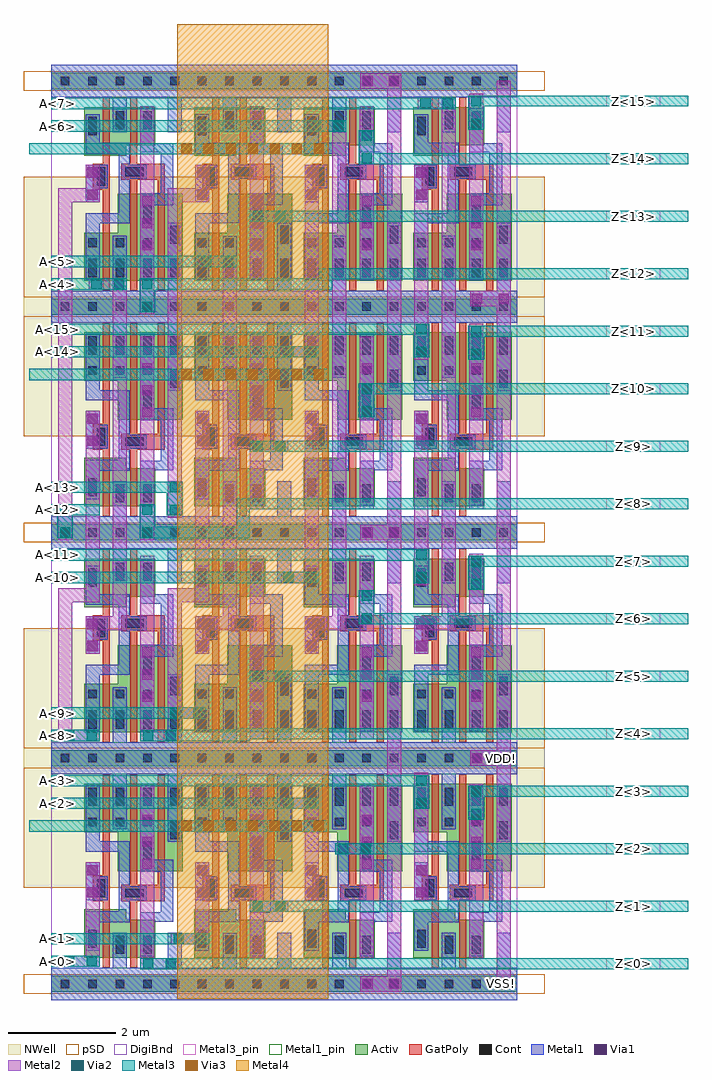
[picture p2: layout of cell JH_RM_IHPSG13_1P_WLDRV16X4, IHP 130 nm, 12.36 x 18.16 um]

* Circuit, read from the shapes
.subckt JH_RM_IHPSG13_1P_WLDRV16X4 A<0> A<10> A<11> A<12> A<13> A<14> A<15> A<1> A<2> A<3> A<4> A<5> A<6> A<7> A<8> A<9> VDD! VSS! Z<0> Z<10> Z<11> Z<12> Z<13> Z<14> Z<15> Z<1> Z<2> Z<3> Z<4> Z<5> Z<6> Z<7> Z<8> Z<9>
XM1 VSS! A<0> n1 VSS! sg13_lv_nmos w=0.9u l=0.13u
XM2 VSS! A<4> n2 VSS! sg13_lv_nmos w=0.9u l=0.13u
XM3 VSS! A<8> n3 VSS! sg13_lv_nmos w=0.9u l=0.13u
XM4 VSS! A<12> n4 VSS! sg13_lv_nmos w=0.9u l=0.13u
XM5 Z<0> n1 VSS! VSS! sg13_lv_nmos w=0.705u l=0.13u
XM6 Z<4> n2 VSS! VSS! sg13_lv_nmos w=0.705u l=0.13u
XM7 Z<8> n3 VSS! VSS! sg13_lv_nmos w=0.705u l=0.13u
XM8 Z<12> n4 VSS! VSS! sg13_lv_nmos w=0.705u l=0.13u
XM9 VSS! A<1> n5 VSS! sg13_lv_nmos w=0.9u l=0.13u
XM10 VSS! A<5> n6 VSS! sg13_lv_nmos w=0.9u l=0.13u
XM11 VSS! A<9> n7 VSS! sg13_lv_nmos w=0.9u l=0.13u
XM12 VSS! A<13> n8 VSS! sg13_lv_nmos w=0.9u l=0.13u
XM13 Z<1> n5 VSS! VSS! sg13_lv_nmos w=0.705u l=0.13u
XM14 Z<5> n6 VSS! VSS! sg13_lv_nmos w=0.705u l=0.13u
XM15 Z<9> n7 VSS! VSS! sg13_lv_nmos w=0.705u l=0.13u
XM16 Z<13> n8 VSS! VSS! sg13_lv_nmos w=0.705u l=0.13u
XM17 VSS! A<2> n9 VSS! sg13_lv_nmos w=0.9u l=0.13u
XM18 VSS! A<6> n10 VSS! sg13_lv_nmos w=0.9u l=0.13u
XM19 VSS! A<10> n11 VSS! sg13_lv_nmos w=0.9u l=0.13u
XM20 VSS! A<14> n12 VSS! sg13_lv_nmos w=0.9u l=0.13u
XM21 Z<2> n9 VSS! VSS! sg13_lv_nmos w=0.705u l=0.13u
XM22 Z<6> n10 VSS! VSS! sg13_lv_nmos w=0.705u l=0.13u
XM23 Z<10> n11 VSS! VSS! sg13_lv_nmos w=0.705u l=0.13u
XM24 Z<14> n12 VSS! VSS! sg13_lv_nmos w=0.705u l=0.13u
XM25 VSS! A<3> n13 VSS! sg13_lv_nmos w=0.9u l=0.13u
XM26 VSS! A<7> n14 VSS! sg13_lv_nmos w=0.9u l=0.13u
XM27 VSS! A<11> n15 VSS! sg13_lv_nmos w=0.9u l=0.13u
XM28 VSS! A<15> n16 VSS! sg13_lv_nmos w=0.9u l=0.13u
XM29 Z<3> n13 VSS! VSS! sg13_lv_nmos w=0.705u l=0.13u
XM30 Z<7> n14 VSS! VSS! sg13_lv_nmos w=0.705u l=0.13u
XM31 Z<11> n15 VSS! VSS! sg13_lv_nmos w=0.705u l=0.13u
XM32 Z<15> n16 VSS! VSS! sg13_lv_nmos w=0.705u l=0.13u
XM33 VDD! A<0> n1 VDD! sg13_lv_pmos w=0.9u l=0.13u
XM34 VDD! A<4> n2 VDD! sg13_lv_pmos w=0.9u l=0.13u
XM35 VDD! A<8> n3 VDD! sg13_lv_pmos w=0.9u l=0.13u
XM36 VDD! A<12> n4 VDD! sg13_lv_pmos w=0.9u l=0.13u
XM37 Z<0> n1 VDD! VDD! sg13_lv_pmos w=1.62u l=0.13u m=2
XM38 Z<4> n2 VDD! VDD! sg13_lv_pmos w=1.62u l=0.13u m=2
XM39 Z<8> n3 VDD! VDD! sg13_lv_pmos w=1.62u l=0.13u m=2
XM40 Z<12> n4 VDD! VDD! sg13_lv_pmos w=1.62u l=0.13u m=2
XM41 VDD! A<1> n5 VDD! sg13_lv_pmos w=0.9u l=0.13u
XM42 VDD! A<5> n6 VDD! sg13_lv_pmos w=0.9u l=0.13u
XM43 VDD! A<9> n7 VDD! sg13_lv_pmos w=0.9u l=0.13u
XM44 VDD! A<13> n8 VDD! sg13_lv_pmos w=0.9u l=0.13u
XM45 Z<1> n5 VDD! VDD! sg13_lv_pmos w=1.62u l=0.13u m=2
XM46 Z<5> n6 VDD! VDD! sg13_lv_pmos w=1.62u l=0.13u m=2
XM47 Z<9> n7 VDD! VDD! sg13_lv_pmos w=1.62u l=0.13u m=2
XM48 Z<13> n8 VDD! VDD! sg13_lv_pmos w=1.62u l=0.13u m=2
XM49 VDD! A<2> n9 VDD! sg13_lv_pmos w=0.9u l=0.13u
XM50 VDD! A<6> n10 VDD! sg13_lv_pmos w=0.9u l=0.13u
XM51 VDD! A<10> n11 VDD! sg13_lv_pmos w=0.9u l=0.13u
XM52 VDD! A<14> n12 VDD! sg13_lv_pmos w=0.9u l=0.13u
XM53 Z<2> n9 VDD! VDD! sg13_lv_pmos w=1.62u l=0.13u m=2
XM54 Z<6> n10 VDD! VDD! sg13_lv_pmos w=1.62u l=0.13u m=2
XM55 Z<10> n11 VDD! VDD! sg13_lv_pmos w=1.62u l=0.13u m=2
XM56 Z<14> n12 VDD! VDD! sg13_lv_pmos w=1.62u l=0.13u m=2
XM57 VDD! A<3> n13 VDD! sg13_lv_pmos w=0.9u l=0.13u
XM58 VDD! A<7> n14 VDD! sg13_lv_pmos w=0.9u l=0.13u
XM59 VDD! A<11> n15 VDD! sg13_lv_pmos w=0.9u l=0.13u
XM60 VDD! A<15> n16 VDD! sg13_lv_pmos w=0.9u l=0.13u
XM61 Z<3> n13 VDD! VDD! sg13_lv_pmos w=1.62u l=0.13u m=2
XM62 Z<7> n14 VDD! VDD! sg13_lv_pmos w=1.62u l=0.13u m=2
XM63 Z<11> n15 VDD! VDD! sg13_lv_pmos w=1.62u l=0.13u m=2
XM64 Z<15> n16 VDD! VDD! sg13_lv_pmos w=1.62u l=0.13u m=2
.ends

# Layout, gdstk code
from math import pi, radians
import gdstk
lib = gdstk.Library(unit=1e-6, precision=1e-09)
def R(c, l, rs):  # rectangles x0, y0, x1, y1
    for r in rs: c.add(gdstk.rectangle(r[:2], r[2:], *l))
def A(c, l, x, y, w, h, nx, ny, dx, dy):  # array of equal rectangles
    R(c, l, [(x+i*dx, y+j*dy, x+i*dx+w, y+j*dy+h) for i in range(nx) for j in range(ny)])
def P(c, l, *ps):  # polygons
    for p in ps: c.add(gdstk.Polygon(p, *l))
Activ = (1, 0)
GatPoly = (5, 0)
Cont = (6, 0)
Metal1 = (8, 0)
Metal1_pin = (8, 2)
Metal2 = (10, 0)
pSD = (14, 0)
DigiBnd = (16, 0)
Via1 = (19, 0)
Via2 = (29, 0)
Metal3 = (30, 0)
Metal3_pin = (30, 2)
NWell = (31, 0)
Via3 = (49, 0)
Metal4 = (50, 0)

jh_rsc_ihpsg13_fill1 = lib.new_cell('JH_RSC_IHPSG13_FILL1')
R(jh_rsc_ihpsg13_fill1, Activ, [(0,-0.15,0.51,0.15), (0,4.05,0.51,4.35)])
R(jh_rsc_ihpsg13_fill1, Cont, [(0.175,-0.08,0.335,0.08), (0.175,4.12,0.335,4.28)])
R(jh_rsc_ihpsg13_fill1, Metal1, [(0,-0.3,0.51,0.3), (0,3.9,0.51,4.5)])
R(jh_rsc_ihpsg13_fill1, Metal1_pin, [(0,-0.3,0.51,0.3), (0,3.9,0.51,4.5)])
R(jh_rsc_ihpsg13_fill1, pSD, [(-0.51,-0.18,1.02,0.18), (-0.51,1.785,1.02,4.02)])
R(jh_rsc_ihpsg13_fill1, DigiBnd, [(0,-0.3,0.51,4.5)])
R(jh_rsc_ihpsg13_fill1, NWell, [(-0.51,1.785,1.02,4.725)])
jh_rsc_ihpsg13_fill1.add(gdstk.Label('VSS!', (0.26,0.01), layer=8, texttype=2))
jh_rsc_ihpsg13_fill1.add(gdstk.Label('VDD!', (0.255,4.2), layer=8, texttype=2))

jh_rsc_ihpsg13_wldrvx4 = lib.new_cell('JH_RSC_IHPSG13_WLDRVX4')
R(jh_rsc_ihpsg13_wldrvx4, Activ, [(0,-0.15,2.04,0.15), (0,4.05,2.04,4.35)])
P(jh_rsc_ihpsg13_wldrvx4, Activ, [(0.725,2.1),(0.725,2.82),(0.105,2.82),(0.105,3.72),(1.935,3.72),(1.935,2.1)],
  [(0.105,0.49),(0.105,1.39),(0.885,1.39),(0.885,1.195),(1.425,1.195),(1.425,0.49)])
P(jh_rsc_ihpsg13_wldrvx4, GatPoly, [(0.445,0.3),(0.445,1.54),(0.26,1.54),(0.26,2.02),(0.445,2.02),(0.445,3.9),(0.575,3.9),(0.575,0.3)],
  [(0.955,0.3),(0.955,1.54),(0.785,1.54),(0.785,1.84),(0.955,1.84),(0.955,3.9),(1.085,3.9),(1.085,1.84),(1.465,1.84),(1.465,3.9),(1.595,3.9),(1.595,1.54),(1.085,1.54),(1.085,0.3)])
A(jh_rsc_ihpsg13_wldrvx4, Cont, 0.175, -0.08, 0.16, 0.16, 4, 2, 0.51, 4.2)
A(jh_rsc_ihpsg13_wldrvx4, Cont, 0.175, 2.93, 0.16, 0.16, 3, 1, 0.51, 0)
A(jh_rsc_ihpsg13_wldrvx4, Cont, 0.175, 3.31, 0.16, 0.34, 4, 1, 0.51, 0)
R(jh_rsc_ihpsg13_wldrvx4, Cont, [(0.685,0.56,0.845,0.9), (1.195,0.56,1.355,0.9), (0.175,0.67,0.335,1.01), (0.33,1.61,0.49,1.95), (0.865,1.61,1.205,1.77), (1.195,2.31,1.355,2.65), (1.705,2.69,1.865,3.03)])
R(jh_rsc_ihpsg13_wldrvx4, Metal1, [(0.28,1.56,0.54,2)])
P(jh_rsc_ihpsg13_wldrvx4, Metal1, [(1.145,0.51),(1.145,1.33),(1.52,1.33),(1.52,2.09),(1.145,2.09),(1.145,3.7),(1.405,3.7),(1.405,2.31),(1.755,2.31),(1.755,1.155),(1.405,1.155),(1.405,0.51)],
  [(1.655,2.64),(1.655,3.9),(0.895,3.9),(0.895,2.88),(0.635,2.88),(0.635,3.9),(0,3.9),(0,4.5),(2.04,4.5),(2.04,3.9),(1.915,3.9),(1.915,2.64)],
  [(0,-0.3),(0,0.3),(0.635,0.3),(0.635,0.95),(0.895,0.95),(0.895,0.3),(1.655,0.3),(1.655,0.95),(1.915,0.95),(1.915,0.3),(2.04,0.3),(2.04,-0.3)],
  [(0.125,0.62),(0.125,1.35),(0.74,1.35),(0.74,2.46),(0.125,2.46),(0.125,3.7),(0.385,3.7),(0.385,2.65),(0.945,2.65),(0.945,1.82),(1.265,1.82),(1.265,1.56),(0.945,1.56),(0.945,1.15),(0.385,1.15),(0.385,0.62)])
R(jh_rsc_ihpsg13_wldrvx4, Metal1_pin, [(0,-0.3,2.04,0.3), (0.28,1.56,0.54,2), (1.145,2.115,1.405,3.7), (0,3.9,2.04,4.5)])
R(jh_rsc_ihpsg13_wldrvx4, pSD, [(-0.51,-0.18,2.55,0.18), (-0.51,1.785,2.55,4.02)])
R(jh_rsc_ihpsg13_wldrvx4, DigiBnd, [(0,-0.3,2.04,4.5)])
R(jh_rsc_ihpsg13_wldrvx4, NWell, [(-0.51,1.785,2.55,4.725)])
jh_rsc_ihpsg13_wldrvx4.add(gdstk.Label('A', (0.41,1.78), layer=8, texttype=2))
jh_rsc_ihpsg13_wldrvx4.add(gdstk.Label('Z', (1.276,2.79), layer=8, texttype=2))
jh_rsc_ihpsg13_wldrvx4.add(gdstk.Label('VDD!', (0.33,4.2), layer=8, texttype=2))
jh_rsc_ihpsg13_wldrvx4.add(gdstk.Label('VSS!', (0.645,0.005), layer=8, texttype=2))

jh_m2_m1_cdns_7564811692 = lib.new_cell('JH_M2_M1_CDNS_756481169253')
R(jh_m2_m1_cdns_7564811692, Metal1, [(-0.35,-0.13,0.35,0.13)])
R(jh_m2_m1_cdns_7564811692, Metal2, [(-0.35,-0.13,0.35,0.13)])
R(jh_m2_m1_cdns_7564811692, Via1, [(-0.3,-0.095,-0.11,0.095), (0.11,-0.095,0.3,0.095)])

jh_viagen23_cdns_7564811 = lib.new_cell('JH_viagen23_CDNS_756481169254')
R(jh_viagen23_cdns_7564811, Metal2, [(-0.13,-0.355,0.13,0.355)])
R(jh_viagen23_cdns_7564811, Via2, [(-0.095,-0.305,0.095,-0.115), (-0.095,0.115,0.095,0.305)])
R(jh_viagen23_cdns_7564811, Metal3, [(-0.145,-0.315,0.145,0.315)])

jh_viagen34_cdns_7564811 = lib.new_cell('JH_viagen34_CDNS_756481169257')
R(jh_viagen34_cdns_7564811, Metal3, [(-1.405,-0.105,1.405,0.105)])
A(jh_viagen34_cdns_7564811, Via3, -1.325, -0.095, 0.19, 0.19, 7, 1, 0.41, 0)
R(jh_viagen34_cdns_7564811, Metal4, [(-1.405,-0.105,1.405,0.105)])

jh_m3_m2_cdns_7564811692 = lib.new_cell('JH_M3_M2_CDNS_7564811692516')
R(jh_m3_m2_cdns_7564811692, Metal2, [(-0.355,-0.105,0.355,0.105)])
R(jh_m3_m2_cdns_7564811692, Via2, [(-0.305,-0.095,-0.115,0.095), (0.115,-0.095,0.305,0.095)])
R(jh_m3_m2_cdns_7564811692, Metal3, [(-0.355,-0.105,0.355,0.105)])

c_jh_m3_m2_cdns_7564811692 = lib.new_cell('JH_M3_M2_CDNS_7564811692517')
R(c_jh_m3_m2_cdns_7564811692, Metal2, [(-0.355,-0.1,0.355,0.1)])
R(c_jh_m3_m2_cdns_7564811692, Via2, [(-0.305,-0.095,-0.115,0.095), (0.115,-0.095,0.305,0.095)])
R(c_jh_m3_m2_cdns_7564811692, Metal3, [(-0.355,-0.1,0.355,0.1)])

c_jh_m3_m2_cdns_7564811692_ = lib.new_cell('JH_M3_M2_CDNS_7564811692518')
R(c_jh_m3_m2_cdns_7564811692_, Metal2, [(-0.355,-0.105,0.355,0.105)])
R(c_jh_m3_m2_cdns_7564811692_, Via2, [(-0.305,-0.095,-0.115,0.095), (0.115,-0.095,0.305,0.095)])
R(c_jh_m3_m2_cdns_7564811692_, Metal3, [(-0.355,-0.1,0.355,0.1)])

c_jh_m2_m1_cdns_7564811692 = lib.new_cell('JH_M2_M1_CDNS_7564811692519')
R(c_jh_m2_m1_cdns_7564811692, Metal1, [(-0.37,-0.145,0.385,0.145)])
R(c_jh_m2_m1_cdns_7564811692, Metal2, [(-0.37,-0.145,0.385,0.145)])
R(c_jh_m2_m1_cdns_7564811692, Via1, [(-0.335,-0.095,-0.145,0.095), (0.16,-0.095,0.35,0.095)])

jh_viagen12_cdns_7564811 = lib.new_cell('JH_viagen12_CDNS_7564811692520')
R(jh_viagen12_cdns_7564811, Metal1, [(-0.13,-0.555,0.13,0.555)])
R(jh_viagen12_cdns_7564811, Metal2, [(-0.13,-0.555,0.13,0.555)])
A(jh_viagen12_cdns_7564811, Via1, -0.095, -0.505, 0.19, 0.19, 1, 3, 0, 0.41)

jh_rm_ihpsg13_1p_wldrv16 = lib.new_cell('JH_RM_IHPSG13_1P_WLDRV16X4')
R(jh_rm_ihpsg13_1p_wldrv16, Metal1_pin, [(8.07,-0.3,8.67,0.3), (8.07,3.9,8.67,4.5)])
A(jh_rm_ihpsg13_1p_wldrv16, Metal2, 1.655, 0.475, 0.26, 3.21, 4, 2, 2.04, 8.36)
A(jh_rm_ihpsg13_1p_wldrv16, Metal2, 1.655, 4.555, 0.26, 3.41, 3, 1, 2.04, 0)
A(jh_rm_ihpsg13_1p_wldrv16, Metal2, 1.655, 13.115, 0.26, 3.21, 3, 1, 2.04, 0)
R(jh_rm_ihpsg13_1p_wldrv16, Metal2, [(6.245,0,6.505,16.8), (8.285,0,8.545,16.8), (0.635,0.315,0.895,2), (2.675,0.735,2.935,2), (4.715,1.74,4.975,3.465), (6.755,1.74,7.015,3.885), (7.775,4.755,8.035,7.965), (4.715,7.455,4.975,9.96), (6.755,7.875,7.015,9.96), (4.715,11.655,4.975,14.54), (6.755,12.075,7.015,14.54), (7.775,13.315,8.035,16.325)])
P(jh_rm_ihpsg13_1p_wldrv16, Metal2, [(0.125,8.715),(0.125,14.8),(0.635,14.8),(0.635,14.54),(0.385,14.54),(0.385,8.715)],
  [(0.125,4.515),(0.125,7.36),(0.635,7.36),(0.635,9.96),(0.895,9.96),(0.895,7.1),(0.385,7.1),(0.385,4.515)],
  [(0.635,6.58),(0.635,6.84),(1.145,6.84),(1.145,13.125),(1.405,13.125),(1.405,6.58)],
  [(2.165,8.715),(2.165,14.8),(2.675,14.8),(2.675,14.54),(2.425,14.54),(2.425,8.715)],
  [(2.165,4.935),(2.165,7.36),(2.675,7.36),(2.675,9.96),(2.935,9.96),(2.935,7.1),(2.425,7.1),(2.425,4.935)],
  [(2.675,6.58),(2.675,6.84),(3.185,6.84),(3.185,13.545),(3.445,13.545),(3.445,6.58)],
  [(4.715,6.58),(4.715,6.84),(5.225,6.84),(5.225,16.065),(5.485,16.065),(5.485,6.58)],
  [(6.755,6.58),(6.755,6.84),(7.265,6.84),(7.265,16.485),(7.525,16.485),(7.525,6.58)])
A(jh_rm_ihpsg13_1p_wldrv16, Metal3, 0, 0.315, 0.895, 0.21, 1, 3, 0, 4.2)
A(jh_rm_ihpsg13_1p_wldrv16, Metal3, 3.695, 1.345, 8.15, 0.2, 1, 4, 0, 4.28)
A(jh_rm_ihpsg13_1p_wldrv16, Metal3, 5.735, 2.415, 6.11, 0.2, 1, 4, 0, 4.28)
A(jh_rm_ihpsg13_1p_wldrv16, Metal3, 0, 3.255, 4.975, 0.21, 1, 3, 0, 4.2)
A(jh_rm_ihpsg13_1p_wldrv16, Metal3, 7.775, 3.485, 4.07, 0.2, 1, 4, 0, 4.28)
A(jh_rm_ihpsg13_1p_wldrv16, Metal3, 0, 3.675, 7.015, 0.21, 1, 3, 0, 4.2)
R(jh_rm_ihpsg13_1p_wldrv16, Metal3, [(1.655,0.275,11.845,0.475), (0,0.735,2.935,0.945), (-0.41,2.835,5.15,3.045), (1.655,4.515,3.695,4.725), (3.445,4.555,11.845,4.755), (0,4.935,2.425,5.145), (1.655,8.295,3.695,8.505), (3.445,8.295,3.695,9.035), (3.445,8.835,11.845,9.035), (0,9.135,2.425,9.345), (-0.41,11.235,5.15,11.445), (0,12.915,1.405,13.125), (1.655,12.915,5.225,13.125), (4.975,13.115,11.845,13.315), (0,13.335,3.445,13.545), (-0.41,15.435,5.15,15.645), (0,15.855,5.485,16.065), (0,16.275,7.525,16.485)])
A(jh_rm_ihpsg13_1p_wldrv16, Metal3_pin, 10.325, 0.275, 1, 0.2, 1, 16, 0, 1.07)
R(jh_rm_ihpsg13_1p_wldrv16, Metal3_pin, [(0,0.315,0.21,0.525), (0,0.735,0.21,0.945), (0,3.255,0.21,3.465), (0,3.675,0.21,3.885), (0,4.515,0.21,4.725), (0,4.935,0.21,5.145), (0,7.455,0.21,7.665), (0,7.875,0.21,8.085), (0,8.715,0.21,8.925), (0,9.135,0.21,9.345), (0.005,11.655,0.215,11.865), (0.005,12.075,0.215,12.285), (0,12.915,0.21,13.125), (0,13.335,0.21,13.545), (0,15.855,0.21,16.065), (0,16.275,0.21,16.485)])
R(jh_rm_ihpsg13_1p_wldrv16, Metal4, [(2.34,-0.28,5.15,17.86)])
r = gdstk.Reference(jh_rsc_ihpsg13_fill1, (0,16.8), x_reflection=True); r.repetition = gdstk.Repetition(1, 2, v1=(0,0), v2=(0,-8.4)); jh_rm_ihpsg13_1p_wldrv16.add(r)
r = gdstk.Reference(jh_rsc_ihpsg13_fill1, (0,0)); r.repetition = gdstk.Repetition(1, 2, v1=(0,0), v2=(0,8.4)); jh_rm_ihpsg13_1p_wldrv16.add(r)
r = gdstk.Reference(jh_rsc_ihpsg13_wldrvx4, (0.51,16.8), x_reflection=True); r.repetition = gdstk.Repetition(4, 2, v1=(2.04,0), v2=(0,-8.4)); jh_rm_ihpsg13_1p_wldrv16.add(r)
r = gdstk.Reference(jh_rsc_ihpsg13_wldrvx4, (0.51,0)); r.repetition = gdstk.Repetition(4, 2, v1=(2.04,0), v2=(0,8.4)); jh_rm_ihpsg13_1p_wldrv16.add(r)
jh_rm_ihpsg13_1p_wldrv16.add(gdstk.Reference(jh_m2_m1_cdns_7564811692, (6.885,10.31), rotation=pi/2))
jh_rm_ihpsg13_1p_wldrv16.add(gdstk.Reference(jh_m2_m1_cdns_7564811692, (0.765,1.91), rotation=pi/2))
jh_rm_ihpsg13_1p_wldrv16.add(gdstk.Reference(jh_m2_m1_cdns_7564811692, (0.765,10.31), rotation=pi/2))
jh_rm_ihpsg13_1p_wldrv16.add(gdstk.Reference(jh_m2_m1_cdns_7564811692, (0.765,14.89), rotation=pi/2))
jh_rm_ihpsg13_1p_wldrv16.add(gdstk.Reference(jh_m2_m1_cdns_7564811692, (2.805,14.89), rotation=pi/2))
jh_rm_ihpsg13_1p_wldrv16.add(gdstk.Reference(jh_m2_m1_cdns_7564811692, (4.845,14.89), rotation=pi/2))
jh_rm_ihpsg13_1p_wldrv16.add(gdstk.Reference(jh_m2_m1_cdns_7564811692, (2.805,1.91), rotation=pi/2))
jh_rm_ihpsg13_1p_wldrv16.add(gdstk.Reference(jh_m2_m1_cdns_7564811692, (6.885,1.91), rotation=pi/2))
jh_rm_ihpsg13_1p_wldrv16.add(gdstk.Reference(jh_m2_m1_cdns_7564811692, (2.805,10.31), rotation=pi/2))
jh_rm_ihpsg13_1p_wldrv16.add(gdstk.Reference(jh_m2_m1_cdns_7564811692, (6.885,6.49), rotation=pi/2))
jh_rm_ihpsg13_1p_wldrv16.add(gdstk.Reference(jh_m2_m1_cdns_7564811692, (2.805,6.49), rotation=pi/2))
jh_rm_ihpsg13_1p_wldrv16.add(gdstk.Reference(jh_m2_m1_cdns_7564811692, (6.885,14.89), rotation=pi/2))
jh_rm_ihpsg13_1p_wldrv16.add(gdstk.Reference(jh_m2_m1_cdns_7564811692, (4.845,10.31), rotation=pi/2))
jh_rm_ihpsg13_1p_wldrv16.add(gdstk.Reference(jh_m2_m1_cdns_7564811692, (4.845,6.49), rotation=pi/2))
jh_rm_ihpsg13_1p_wldrv16.add(gdstk.Reference(jh_m2_m1_cdns_7564811692, (0.765,6.49), rotation=pi/2))
jh_rm_ihpsg13_1p_wldrv16.add(gdstk.Reference(jh_m2_m1_cdns_7564811692, (4.845,1.91), rotation=pi/2))
jh_rm_ihpsg13_1p_wldrv16.add(gdstk.Reference(jh_viagen23_cdns_7564811, (5.865,15.57), rotation=pi, x_reflection=True))
jh_rm_ihpsg13_1p_wldrv16.add(gdstk.Reference(jh_viagen23_cdns_7564811, (5.865,7.01), rotation=pi, x_reflection=True))
jh_rm_ihpsg13_1p_wldrv16.add(gdstk.Reference(jh_viagen23_cdns_7564811, (6.885,7.77), rotation=pi, x_reflection=True))
jh_rm_ihpsg13_1p_wldrv16.add(gdstk.Reference(jh_viagen23_cdns_7564811, (6.885,3.57), rotation=pi, x_reflection=True))
jh_rm_ihpsg13_1p_wldrv16.add(gdstk.Reference(jh_viagen23_cdns_7564811, (6.885,11.97), rotation=pi, x_reflection=True))
jh_rm_ihpsg13_1p_wldrv16.add(gdstk.Reference(jh_viagen23_cdns_7564811, (5.865,10.86), rotation=pi, x_reflection=True))
jh_rm_ihpsg13_1p_wldrv16.add(gdstk.Reference(jh_viagen23_cdns_7564811, (7.905,11.93), rotation=pi, x_reflection=True))
jh_rm_ihpsg13_1p_wldrv16.add(gdstk.Reference(jh_viagen23_cdns_7564811, (7.905,7.65), rotation=pi, x_reflection=True))
jh_rm_ihpsg13_1p_wldrv16.add(gdstk.Reference(jh_viagen23_cdns_7564811, (7.905,16.21), rotation=pi, x_reflection=True))
jh_rm_ihpsg13_1p_wldrv16.add(gdstk.Reference(jh_viagen23_cdns_7564811, (7.905,3.37), rotation=pi, x_reflection=True))
jh_rm_ihpsg13_1p_wldrv16.add(gdstk.Reference(jh_viagen23_cdns_7564811, (2.295,9.03)))
jh_rm_ihpsg13_1p_wldrv16.add(gdstk.Reference(jh_viagen23_cdns_7564811, (1.785,8.61)))
jh_rm_ihpsg13_1p_wldrv16.add(gdstk.Reference(jh_viagen23_cdns_7564811, (1.785,12.81)))
jh_rm_ihpsg13_1p_wldrv16.add(gdstk.Reference(jh_viagen23_cdns_7564811, (0.255,8.61)))
jh_rm_ihpsg13_1p_wldrv16.add(gdstk.Reference(jh_viagen34_cdns_7564811, (3.745,2.94), rotation=pi))
jh_rm_ihpsg13_1p_wldrv16.add(gdstk.Reference(jh_viagen34_cdns_7564811, (3.745,11.34), rotation=pi))
jh_rm_ihpsg13_1p_wldrv16.add(gdstk.Reference(jh_viagen34_cdns_7564811, (3.745,15.54), rotation=pi))
jh_rm_ihpsg13_1p_wldrv16.add(gdstk.Reference(jh_m3_m2_cdns_7564811692, (4.62,11.76), rotation=pi, x_reflection=True))
jh_rm_ihpsg13_1p_wldrv16.add(gdstk.Reference(jh_m3_m2_cdns_7564811692, (2.52,5.04), rotation=pi, x_reflection=True))
jh_rm_ihpsg13_1p_wldrv16.add(gdstk.Reference(jh_m3_m2_cdns_7564811692, (7.17,16.38), rotation=pi, x_reflection=True))
jh_rm_ihpsg13_1p_wldrv16.add(gdstk.Reference(jh_m3_m2_cdns_7564811692, (0.54,0.42), rotation=pi, x_reflection=True))
jh_rm_ihpsg13_1p_wldrv16.add(gdstk.Reference(jh_m3_m2_cdns_7564811692, (2.58,0.84), rotation=pi, x_reflection=True))
jh_rm_ihpsg13_1p_wldrv16.add(gdstk.Reference(jh_m3_m2_cdns_7564811692, (4.62,3.36), rotation=pi, x_reflection=True))
jh_rm_ihpsg13_1p_wldrv16.add(gdstk.Reference(jh_m3_m2_cdns_7564811692, (0.54,4.62), rotation=pi, x_reflection=True))
jh_rm_ihpsg13_1p_wldrv16.add(gdstk.Reference(jh_m3_m2_cdns_7564811692, (5.13,15.96), rotation=pi, x_reflection=True))
jh_rm_ihpsg13_1p_wldrv16.add(gdstk.Reference(jh_m3_m2_cdns_7564811692, (2.01,4.62), rotation=pi, x_reflection=True))
jh_rm_ihpsg13_1p_wldrv16.add(gdstk.Reference(jh_m3_m2_cdns_7564811692, (3.09,13.44), rotation=pi, x_reflection=True))
jh_rm_ihpsg13_1p_wldrv16.add(gdstk.Reference(jh_m3_m2_cdns_7564811692, (4.62,7.56), rotation=pi, x_reflection=True))
jh_rm_ihpsg13_1p_wldrv16.add(gdstk.Reference(jh_m3_m2_cdns_7564811692, (1.05,13.02), rotation=pi, x_reflection=True))
jh_rm_ihpsg13_1p_wldrv16.add(gdstk.Reference(c_jh_m3_m2_cdns_7564811692, (5.64,2.515), rotation=pi, x_reflection=True))
jh_rm_ihpsg13_1p_wldrv16.add(gdstk.Reference(c_jh_m3_m2_cdns_7564811692, (4.05,5.725), rotation=pi, x_reflection=True))
jh_rm_ihpsg13_1p_wldrv16.add(gdstk.Reference(c_jh_m3_m2_cdns_7564811692, (4.05,14.285), rotation=pi, x_reflection=True))
jh_rm_ihpsg13_1p_wldrv16.add(gdstk.Reference(c_jh_m3_m2_cdns_7564811692, (4.05,10.005), rotation=pi, x_reflection=True))
jh_rm_ihpsg13_1p_wldrv16.add(gdstk.Reference(c_jh_m3_m2_cdns_7564811692_, (2.01,0.375), rotation=pi, x_reflection=True))
jh_rm_ihpsg13_1p_wldrv16.add(gdstk.Reference(c_jh_m3_m2_cdns_7564811692_, (4.05,1.445), rotation=pi, x_reflection=True))
jh_rm_ihpsg13_1p_wldrv16.add(gdstk.Reference(c_jh_m2_m1_cdns_7564811692, (6.135,16.8), rotation=pi))
jh_rm_ihpsg13_1p_wldrv16.add(gdstk.Reference(c_jh_m2_m1_cdns_7564811692, (6.135,8.4), rotation=pi))
jh_rm_ihpsg13_1p_wldrv16.add(gdstk.Reference(c_jh_m2_m1_cdns_7564811692, (8.175,12.75), rotation=pi))
jh_rm_ihpsg13_1p_wldrv16.add(gdstk.Reference(c_jh_m2_m1_cdns_7564811692, (8.175,4.2), rotation=pi))
jh_rm_ihpsg13_1p_wldrv16.add(gdstk.Reference(c_jh_m2_m1_cdns_7564811692, (6.135,0), rotation=pi))
jh_rm_ihpsg13_1p_wldrv16.add(gdstk.Reference(jh_viagen12_cdns_7564811, (5.865,11.045)))
jh_rm_ihpsg13_1p_wldrv16.add(gdstk.Reference(jh_viagen12_cdns_7564811, (5.865,14.155)))
jh_rm_ihpsg13_1p_wldrv16.add(gdstk.Reference(jh_viagen12_cdns_7564811, (3.825,5.755)))
jh_rm_ihpsg13_1p_wldrv16.add(gdstk.Reference(jh_viagen12_cdns_7564811, (1.785,14.155)))
jh_rm_ihpsg13_1p_wldrv16.add(gdstk.Reference(jh_viagen12_cdns_7564811, (5.865,5.755)))
jh_rm_ihpsg13_1p_wldrv16.add(gdstk.Reference(jh_viagen12_cdns_7564811, (3.825,14.155)))
jh_rm_ihpsg13_1p_wldrv16.add(gdstk.Reference(jh_viagen12_cdns_7564811, (1.785,11.045)))
jh_rm_ihpsg13_1p_wldrv16.add(gdstk.Reference(jh_viagen12_cdns_7564811, (3.825,11.045)))
jh_rm_ihpsg13_1p_wldrv16.add(gdstk.Reference(jh_viagen12_cdns_7564811, (1.785,2.645)))
jh_rm_ihpsg13_1p_wldrv16.add(gdstk.Reference(jh_viagen12_cdns_7564811, (7.905,14.155)))
jh_rm_ihpsg13_1p_wldrv16.add(gdstk.Reference(jh_viagen12_cdns_7564811, (7.905,11.045)))
jh_rm_ihpsg13_1p_wldrv16.add(gdstk.Reference(jh_viagen12_cdns_7564811, (3.825,2.645)))
jh_rm_ihpsg13_1p_wldrv16.add(gdstk.Reference(jh_viagen12_cdns_7564811, (5.865,2.645)))
jh_rm_ihpsg13_1p_wldrv16.add(gdstk.Reference(jh_viagen12_cdns_7564811, (7.905,2.645)))
jh_rm_ihpsg13_1p_wldrv16.add(gdstk.Reference(jh_viagen12_cdns_7564811, (7.905,5.755)))
jh_rm_ihpsg13_1p_wldrv16.add(gdstk.Reference(jh_viagen12_cdns_7564811, (1.785,5.755)))
jh_rm_ihpsg13_1p_wldrv16.add(gdstk.Label('VSS!', (8.37,0), layer=8, texttype=2))
jh_rm_ihpsg13_1p_wldrv16.add(gdstk.Label('VDD!', (8.37,4.2), layer=8, texttype=2))
jh_rm_ihpsg13_1p_wldrv16.add(gdstk.Label('A<7>', (0.105,16.38), layer=30, texttype=25))
jh_rm_ihpsg13_1p_wldrv16.add(gdstk.Label('A<9>', (0.105,5.04), layer=30, texttype=25))
jh_rm_ihpsg13_1p_wldrv16.add(gdstk.Label('A<4>', (0.105,13.02), layer=30, texttype=25))
jh_rm_ihpsg13_1p_wldrv16.add(gdstk.Label('A<5>', (0.105,13.44), layer=30, texttype=25))
jh_rm_ihpsg13_1p_wldrv16.add(gdstk.Label('A<8>', (0.105,4.62), layer=30, texttype=25))
jh_rm_ihpsg13_1p_wldrv16.add(gdstk.Label('A<6>', (0.105,15.96), layer=30, texttype=25))
jh_rm_ihpsg13_1p_wldrv16.add(gdstk.Label('A<10>', (0.105,7.56), layer=30, texttype=25))
jh_rm_ihpsg13_1p_wldrv16.add(gdstk.Label('A<11>', (0.105,7.98), layer=30, texttype=25))
jh_rm_ihpsg13_1p_wldrv16.add(gdstk.Label('A<3>', (0.105,3.78), layer=30, texttype=25))
jh_rm_ihpsg13_1p_wldrv16.add(gdstk.Label('A<14>', (0.11,11.76), layer=30, texttype=25))
jh_rm_ihpsg13_1p_wldrv16.add(gdstk.Label('A<15>', (0.11,12.18), layer=30, texttype=25))
jh_rm_ihpsg13_1p_wldrv16.add(gdstk.Label('A<0>', (0.105,0.42), layer=30, texttype=25))
jh_rm_ihpsg13_1p_wldrv16.add(gdstk.Label('A<12>', (0.105,8.82), layer=30, texttype=25))
jh_rm_ihpsg13_1p_wldrv16.add(gdstk.Label('A<13>', (0.105,9.24), layer=30, texttype=25))
jh_rm_ihpsg13_1p_wldrv16.add(gdstk.Label('A<2>', (0.105,3.36), layer=30, texttype=25))
jh_rm_ihpsg13_1p_wldrv16.add(gdstk.Label('Z<15>', (10.825,16.425), layer=30, texttype=25))
jh_rm_ihpsg13_1p_wldrv16.add(gdstk.Label('A<1>', (0.105,0.84), layer=30, texttype=25))
jh_rm_ihpsg13_1p_wldrv16.add(gdstk.Label('Z<0>', (10.825,0.375), layer=30, texttype=25))
jh_rm_ihpsg13_1p_wldrv16.add(gdstk.Label('Z<1>', (10.825,1.445), layer=30, texttype=25))
jh_rm_ihpsg13_1p_wldrv16.add(gdstk.Label('Z<2>', (10.825,2.515), layer=30, texttype=25))
jh_rm_ihpsg13_1p_wldrv16.add(gdstk.Label('Z<3>', (10.825,3.585), layer=30, texttype=25))
jh_rm_ihpsg13_1p_wldrv16.add(gdstk.Label('Z<4>', (10.825,4.655), layer=30, texttype=25))
jh_rm_ihpsg13_1p_wldrv16.add(gdstk.Label('Z<5>', (10.825,5.725), layer=30, texttype=25))
jh_rm_ihpsg13_1p_wldrv16.add(gdstk.Label('Z<6>', (10.825,6.795), layer=30, texttype=25))
jh_rm_ihpsg13_1p_wldrv16.add(gdstk.Label('Z<7>', (10.825,7.865), layer=30, texttype=25))
jh_rm_ihpsg13_1p_wldrv16.add(gdstk.Label('Z<8>', (10.825,8.935), layer=30, texttype=25))
jh_rm_ihpsg13_1p_wldrv16.add(gdstk.Label('Z<9>', (10.825,10.005), layer=30, texttype=25))
jh_rm_ihpsg13_1p_wldrv16.add(gdstk.Label('Z<10>', (10.825,11.075), layer=30, texttype=25))
jh_rm_ihpsg13_1p_wldrv16.add(gdstk.Label('Z<11>', (10.825,12.145), layer=30, texttype=25))
jh_rm_ihpsg13_1p_wldrv16.add(gdstk.Label('Z<12>', (10.825,13.215), layer=30, texttype=25))
jh_rm_ihpsg13_1p_wldrv16.add(gdstk.Label('Z<13>', (10.825,14.285), layer=30, texttype=25))
jh_rm_ihpsg13_1p_wldrv16.add(gdstk.Label('Z<14>', (10.825,15.355), layer=30, texttype=25))

lib.write_gds('JH_RM_IHPSG13_1P_WLDRV16X4.gds')
